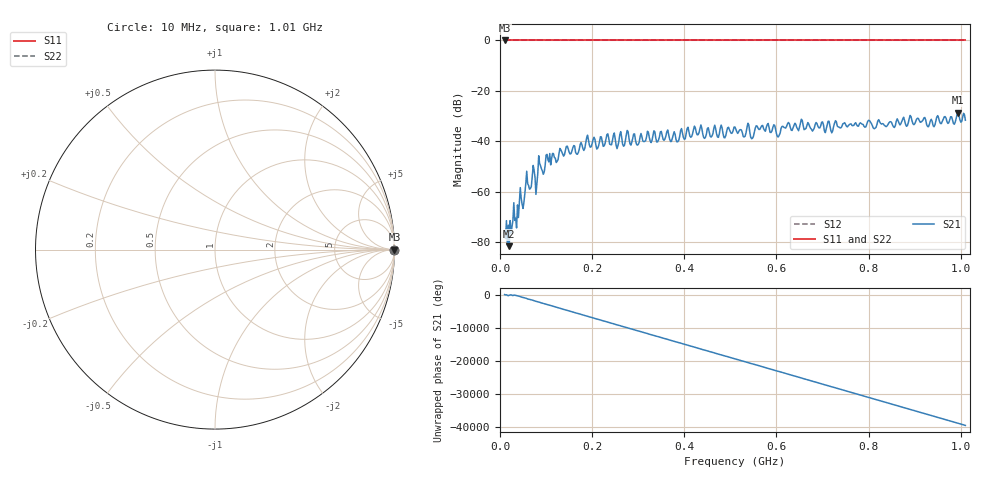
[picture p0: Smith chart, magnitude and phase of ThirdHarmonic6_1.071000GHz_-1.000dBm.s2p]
! 8/16/2025 9:43:22 AM
! C:\ANRITSUVNA\TEMP\TEMP.S2P
! CHANNEL.1
! TR.MEASUREMENT
! RAW.DATA
! RF.CORRECTION.OFF
! AVERAGING.OFF
! IF.BANDWIDTH: 5KHZ
! SWEEPTYPE:  FREQ.SWEEP(Linear)
! Reference Plane Port Info
! PORT:  PORT1  PORT2
! DISTANCE:  0  m  0  m
! TIME:  0  s  0  s
! PHASE.OFFSET:  0  deg.  0  deg.
! LOSS:  0  dB  0  dB
! REF.LOSS:  0  dB  0  dB
! REF.FREQ:  0  Hz  0  Hz
! Power Info
! POWER:  -20  dBm  -20  dBm
! EFF.POWER:  -20  dBm  -20  dBm
! SOURCE.ATTEN:  0  dB  0  dB
! TEST.ATTEN:  0  dB  0  dB
# GHZ S RI R 50.0
! FREQ.GHZ  S11RE  S11IM  S21RE  S21IM  S12RE  S12IM  S22RE  S22IM
!; PortSelection: Port_12
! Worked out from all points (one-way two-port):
!   501 points, 10 MHz to 1.01 GHz, reference 50 ohm
!   highest |S21| = -28.58 dB at 994 MHz (marker M1); lowest = -81.6 dB at 20 MHz (marker M2)
!   lowest |S11| = 0.0 dB at 10 MHz (marker M3)
!   |S11| at or under -10 dB: nowhere
!   |S22| runs from 0.0 to 0.0 dB; largest |S21 - S12| = 1
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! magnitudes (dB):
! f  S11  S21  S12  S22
! 10 MHz  0.0  -76.4  0.0  0.0
! 20 MHz  0.0  -81.6  0.0  0.0
! 36 MHz  0.0  -74.3  0.0  0.0
! 42 MHz  0.0  -64.5  0.0  0.0
! 50 MHz  0.0  -66.6  0.0  0.0
! 58 MHz  0.0  -51.9  0.0  0.0
! 78 MHz  0.0  -61.0  0.0  0.0
! 86 MHz  0.0  -48.8  0.0  0.0
! 94 MHz  0.0  -53.1  0.0  0.0
! 178 MHz  0.0  -41.5  0.0  0.0
! 344 MHz  0.0  -39.4  0.0  0.0
! 510 MHz  0.0  -34.3  0.0  0.0
! 530 MHz  0.0  -38.3  0.0  0.0
! 538 MHz  0.0  -32.8  0.0  0.0
! 548 MHz  0.0  -38.8  0.0  0.0
! 558 MHz  0.0  -33.9  0.0  0.0
! 604 MHz  0.0  -38.2  0.0  0.0
! 624 MHz  0.0  -33.0  0.0  0.0
! 678 MHz  0.0  -35.9  0.0  0.0
! 844 MHz  0.0  -32.7  0.0  0.0
! 994 MHz  0.0  -28.6  0.0  0.0
! 1.01 GHz  0.0  -31.6  0.0  0.0
